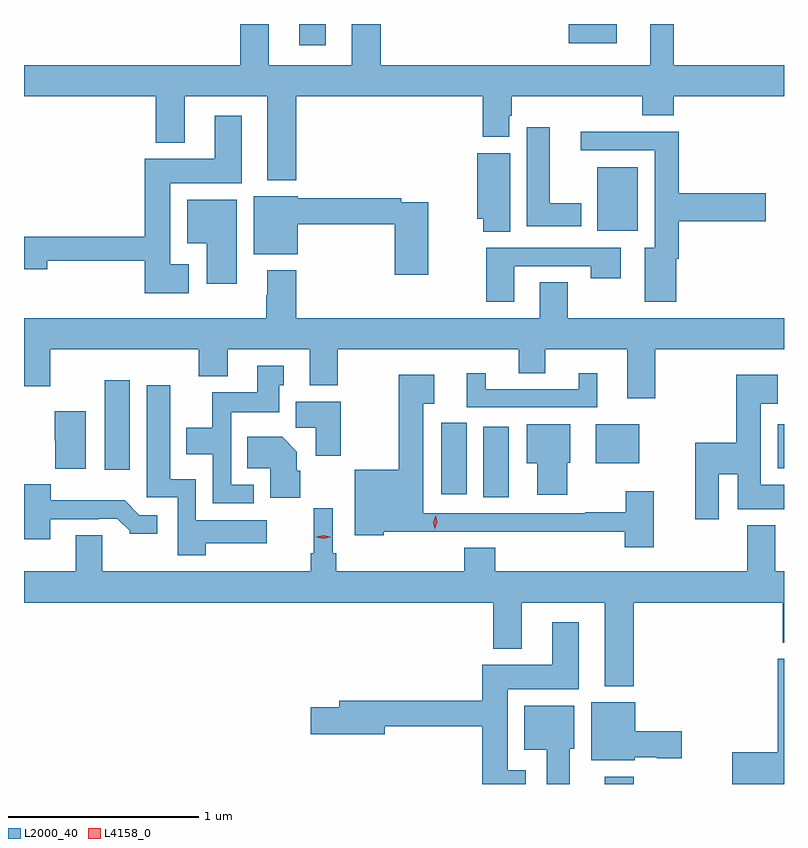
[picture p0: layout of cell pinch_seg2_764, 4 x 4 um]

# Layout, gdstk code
import gdstk
lib = gdstk.Library(unit=1e-6, precision=1e-09)
def R(c, l, rs):  # rectangles x0, y0, x1, y1
    for r in rs: c.add(gdstk.rectangle(r[:2], r[2:], *l))
def P(c, l, *ps):  # polygons
    for p in ps: c.add(gdstk.Polygon(p, *l))
L2000_40 = (2000, 40)
L4158_0 = (4158, 0)

pinch_seg2_764 = lib.new_cell('pinch_seg2_764')
R(pinch_seg2_764, L2000_40, [(660.389,641.353,660.542,641.392), (659.75,642.862,659.884,643.234), (659.528,642.879,659.662,643.254), (657.758,643.008,657.889,643.477), (661.298,643.016,661.332,643.246), (660.341,643.04,660.571,643.246), (660.35,644.264,660.562,644.599), (658.781,645.24,658.921,645.353), (660.2,645.251,660.451,645.353)])
P(pinch_seg2_764, L2000_40, [(658.766,644.972),(659.747,644.972),(659.747,644.759),(659.887,644.759),(659.887,644.871),(659.9,644.871),(659.9,644.972),(660.587,644.972),(660.587,644.873),(660.752,644.873),(660.752,644.972),(661.332,644.972),(661.332,645.136),(660.751,645.136),(660.751,645.353),(660.629,645.353),(660.629,645.136),(659.21,645.136),(659.21,645.353),(659.057,645.353),(659.057,645.136),(658.621,645.136),(658.621,645.353),(658.469,645.353),(658.469,645.136),(657.332,645.136),(657.332,644.972),(658.025,644.972),(658.025,644.729),(658.177,644.729),(658.177,644.972),(658.613,644.972),(658.613,644.531),(658.766,644.531)],
  [(658.198,644.089),(658.102,644.089),(658.102,644.516),(658.477,644.516),(658.477,644.869),(658.337,644.869),(658.337,644.644),(657.968,644.644),(657.968,644.234),(657.332,644.234),(657.332,644.063),(657.454,644.063),(657.454,644.106),(657.968,644.106),(657.968,643.937),(658.198,643.937)],
  [(660.265,644.41),(660.1,644.41),(660.1,644.809),(659.978,644.809),(659.978,644.288),(660.265,644.288)],
  [(660.766,644.117),(660.779,644.117),(660.779,644.315),(661.237,644.315),(661.237,644.462),(660.779,644.462),(660.779,644.786),(660.261,644.786),(660.261,644.688),(660.653,644.688),(660.653,644.176),(660.599,644.176),(660.599,643.89),(660.766,643.89)],
  [(659.89,644.674),(659.717,644.674),(659.717,644.327),(659.749,644.327),(659.749,644.26),(659.89,644.26)],
  [(659.46,644.415),(659.318,644.415),(659.318,644.435),(658.774,644.435),(658.774,644.446),(658.541,644.446),(658.541,644.141),(658.774,644.141),(658.774,644.299),(659.282,644.299),(659.282,644.034),(659.46,644.034)],
  [(658.453,644.428),(658.19,644.428),(658.19,644.198),(658.295,644.198),(658.295,643.986),(658.453,643.986)],
  [(659.911,644.079),(660.316,644.079),(660.316,644.016),(660.472,644.016),(660.472,644.175),(659.764,644.175),(659.764,643.89),(659.911,643.89)],
  [(660.654,643.64),(661.332,643.64),(661.332,643.804),(660.195,643.804),(660.195,643.994),(660.047,643.994),(660.047,643.804),(658.766,643.804),(658.766,644.056),(658.613,644.056),(658.613,643.925),(658.606,643.925),(658.606,643.804),(657.332,643.804),(657.332,643.446),(657.469,643.446),(657.469,643.64),(658.253,643.64),(658.253,643.499),(658.405,643.499),(658.405,643.64),(658.835,643.64),(658.835,643.451),(658.983,643.451),(658.983,643.64),(659.936,643.64),(659.936,643.516),(660.076,643.516),(660.076,643.64),(660.506,643.64),(660.506,643.383),(660.654,643.383)],
  [(658.54,642.927),(658.422,642.927),(658.422,643.31),(658.675,643.31),(658.675,643.452),(658.699,643.452),(658.699,643.555),(658.559,643.555),(658.559,643.414),(658.324,643.414),(658.324,643.228),(658.187,643.228),(658.187,643.088),(658.326,643.088),(658.326,642.831),(658.54,642.831)],
  [(660.349,643.516),(660.251,643.516),(660.251,643.431),(659.761,643.431),(659.761,643.516),(659.663,643.516),(659.663,643.335),(660.349,643.335)],
  [(660.646,642.895),(660.499,642.895),(660.499,642.782),(660.286,642.782),(660.286,642.777),(659.434,642.777),(659.434,643.355),(659.491,643.355),(659.491,643.507),(659.305,643.507),(659.305,643.006),(659.072,643.006),(659.072,642.662),(659.226,642.662),(659.226,642.68),(659.53,642.68),(659.53,642.681),(659.896,642.681),(659.896,642.68),(660.494,642.68),(660.494,642.6),(660.646,642.6)],
  [(660.988,642.983),(661.088,642.983),(661.088,642.8),(661.332,642.8),(661.332,642.928),(661.21,642.928),(661.21,643.355),(661.3,643.355),(661.3,643.507),(661.081,643.507),(661.081,643.148),(660.866,643.148),(660.866,642.747),(660.988,642.747)],
  [(658.289,642.62),(658.609,642.62),(658.609,642.742),(658.236,642.742),(658.236,642.958),(658.102,642.958),(658.102,643.453),(657.977,643.453),(657.977,642.861),(658.14,642.861),(658.14,642.558),(658.289,642.558)],
  [(658.998,643.366),(658.763,643.366),(658.763,643.228),(658.868,643.228),(658.868,643.08),(658.998,643.08)],
  [(657.658,643.315),(657.494,643.315),(657.494,643.161),(657.496,643.161),(657.496,643.013),(657.658,643.013)],
  [(660.19,643.044),(660.208,643.044),(660.208,643.246),(659.978,643.246),(659.978,643.04),(660.032,643.04),(660.032,642.876),(660.19,642.876)],
  [(658.786,643.002),(658.768,643.002),(658.768,643.102),(658.69,643.18),(658.507,643.18),(658.507,643.016),(658.628,643.016),(658.628,642.859),(658.786,642.859)],
  [(657.469,642.747),(657.725,642.747),(657.725,642.75),(657.824,642.75),(657.888,642.686),(657.888,642.671),(658.033,642.671),(658.033,642.768),(657.939,642.768),(657.861,642.847),(657.472,642.847),(657.472,642.931),(657.332,642.931),(657.332,642.642),(657.469,642.642)],
  [(660.542,642.308),(661.325,642.308),(661.325,642.097),(661.332,642.097),(661.332,642.472),(661.285,642.472),(661.285,642.715),(661.138,642.715),(661.138,642.472),(659.813,642.472),(659.813,642.596),(659.648,642.596),(659.648,642.472),(658.976,642.472),(658.976,642.568),(658.956,642.568),(658.956,642.805),(658.858,642.805),(658.858,642.568),(658.84,642.568),(658.84,642.472),(657.745,642.472),(657.745,642.662),(657.605,642.662),(657.605,642.472),(657.332,642.472),(657.332,642.308),(659.801,642.308),(659.801,642.065),(659.953,642.065),(659.953,642.308),(660.389,642.308),(660.389,641.867),(660.542,641.867)],
  [(659.974,641.425),(659.878,641.425),(659.878,641.852),(660.253,641.852),(660.253,642.205),(660.113,642.205),(660.113,641.98),(659.744,641.98),(659.744,641.792),(658.991,641.792),(658.991,641.756),(658.842,641.756),(658.842,641.614),(659.23,641.614),(659.23,641.656),(659.744,641.656),(659.744,641.353),(659.974,641.353)],
  [(661.332,642.012),(661.298,642.012),(661.298,641.519),(661.059,641.519),(661.059,641.353),(661.332,641.353)],
  [(660.546,641.495),(660.663,641.495),(660.663,641.488),(660.793,641.488),(660.793,641.63),(660.55,641.63),(660.55,641.782),(660.317,641.782),(660.317,641.477),(660.546,641.477)],
  [(660.205,641.538),(660.229,641.538),(660.229,641.764),(659.966,641.764),(659.966,641.534),(660.083,641.534),(660.083,641.353),(660.205,641.353)])
P(pinch_seg2_764, L4158_0, [(659.495,642.695),(659.495,642.696),(659.487,642.731),(659.498,642.766),(659.499,642.767),(659.499,642.766),(659.507,642.73),(659.495,642.696)],
  [(658.908,642.643),(658.872,642.653),(658.871,642.653),(658.872,642.654),(658.908,642.663),(658.943,642.654),(658.944,642.653),(658.943,642.653)])

lib.write_gds('pinch_seg2_764.gds')
